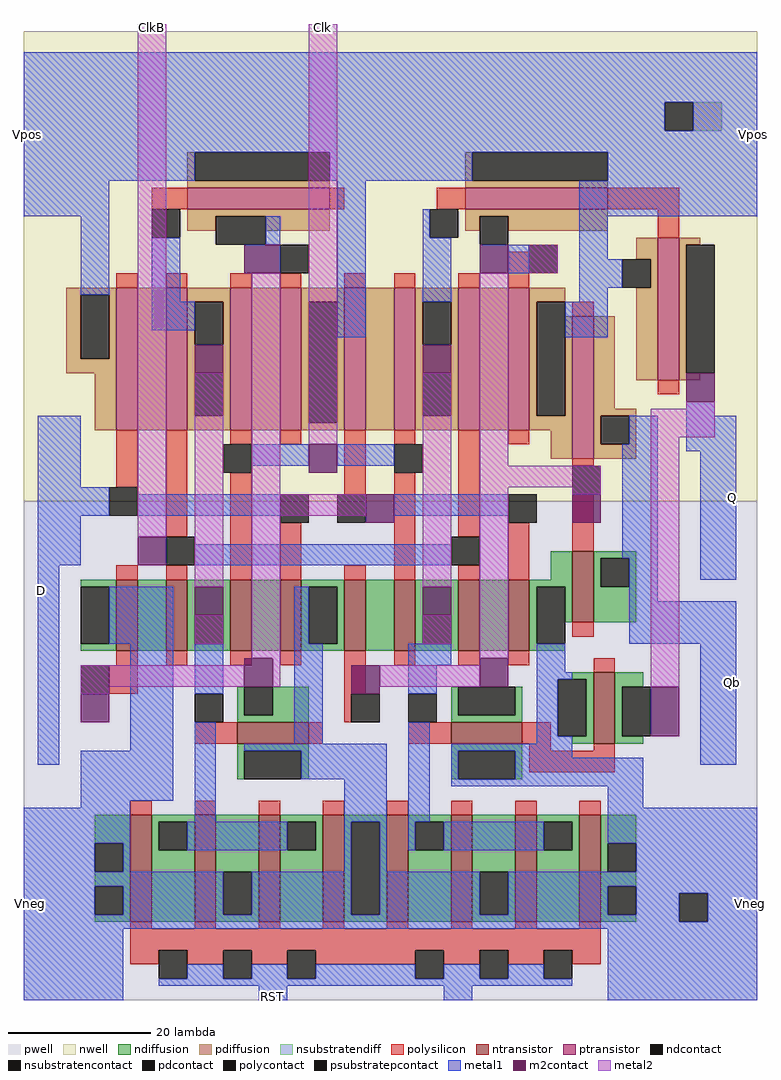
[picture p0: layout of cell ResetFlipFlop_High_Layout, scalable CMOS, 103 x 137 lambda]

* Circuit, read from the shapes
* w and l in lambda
.subckt ResetFlipFlop_High_Layout Clk ClkB D Q Qb RST Vneg Vpos
M1 n1 n2 Vneg Vneg nfet w=10 l=3
M2 n3 RST Vneg Vneg nfet w=15 l=3 m=4
M3 n3 ClkB n1 Vneg nfet w=10 l=3
M4 n4 Clk n3 Vneg nfet w=10 l=3
M5 n2 n3 Vneg Vneg nfet w=10 l=3
M6 Vneg D n4 Vneg nfet w=10 l=3
M7 n5 n6 Vneg Vneg nfet w=10 l=3
M8 n7 RST Vneg Vneg nfet w=15 l=3 m=4
M9 n7 Clk n5 Vneg nfet w=10 l=3
M10 n6 n7 Vneg Vneg nfet w=10 l=3
M11 n8 ClkB n7 Vneg nfet w=10 l=3
M12 Vneg n2 n8 Vneg nfet w=10 l=3
M13 Qb n6 Vneg Vneg nfet w=10 l=3
M14 Q n7 Vneg Vneg nfet w=10 l=3
M15 n9 D Vpos Vpos pfet w=20 l=3
M16 n3 ClkB n9 Vpos pfet w=20 l=3
M17 Vpos n3 n2 Vpos pfet w=20 l=3
M18 n10 Clk n3 Vpos pfet w=20 l=3
M19 Vpos n2 n10 Vpos pfet w=20 l=3
M20 n11 n2 Vpos Vpos pfet w=20 l=3
M21 n7 Clk n11 Vpos pfet w=20 l=3
M22 n12 ClkB n7 Vpos pfet w=20 l=3
M23 Vpos n7 n6 Vpos pfet w=20 l=3
M24 Vpos n6 n12 Vpos pfet w=20 l=3
M25 Qb n6 Vpos Vpos pfet w=20 l=3
M26 Q n7 Vpos Vpos pfet w=20 l=3
.ends

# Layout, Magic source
magic
tech scmos
<< nwell >>
rect 322 -274 425 -208
<< pwell >>
rect 322 -344 425 -274
<< ntransistor >>
rect 335 -295 338 -285
rect 342 -295 345 -285
rect 351 -295 354 -285
rect 358 -295 361 -285
rect 367 -295 370 -285
rect 374 -295 377 -285
rect 383 -295 386 -285
rect 390 -295 393 -285
rect 399 -291 402 -281
rect 352 -308 362 -305
rect 382 -308 392 -305
rect 402 -308 405 -298
rect 337 -333 340 -318
rect 346 -333 349 -318
rect 355 -333 358 -318
rect 364 -333 367 -318
rect 373 -333 376 -318
rect 382 -333 385 -318
rect 391 -333 394 -318
rect 400 -333 403 -318
<< ptransistor >>
rect 345 -233 365 -230
rect 384 -233 404 -230
rect 335 -264 338 -244
rect 342 -264 345 -244
rect 351 -264 354 -244
rect 358 -264 361 -244
rect 367 -264 370 -244
rect 374 -264 377 -244
rect 383 -264 386 -244
rect 390 -264 393 -244
rect 399 -268 402 -248
rect 411 -257 414 -237
<< ndiffusion >>
rect 396 -285 399 -281
rect 330 -286 335 -285
rect 334 -294 335 -286
rect 330 -295 335 -294
rect 338 -295 342 -285
rect 345 -290 351 -285
rect 345 -294 346 -290
rect 350 -294 351 -290
rect 345 -295 351 -294
rect 354 -295 358 -285
rect 361 -286 367 -285
rect 361 -294 362 -286
rect 366 -294 367 -286
rect 361 -295 367 -294
rect 370 -295 374 -285
rect 377 -290 383 -285
rect 377 -294 378 -290
rect 382 -294 383 -290
rect 377 -295 383 -294
rect 386 -295 390 -285
rect 393 -286 399 -285
rect 393 -294 394 -286
rect 398 -291 399 -286
rect 402 -282 408 -281
rect 402 -286 403 -282
rect 407 -286 408 -282
rect 402 -291 408 -286
rect 393 -295 398 -294
rect 352 -304 353 -300
rect 357 -304 362 -300
rect 352 -305 362 -304
rect 399 -299 402 -298
rect 382 -304 383 -300
rect 391 -304 392 -300
rect 382 -305 392 -304
rect 401 -307 402 -299
rect 399 -308 402 -307
rect 405 -300 409 -298
rect 405 -307 406 -300
rect 405 -308 409 -307
rect 352 -309 362 -308
rect 352 -313 353 -309
rect 361 -313 362 -309
rect 382 -309 392 -308
rect 382 -313 383 -309
rect 391 -313 392 -309
rect 332 -322 337 -318
rect 336 -326 337 -322
rect 332 -328 337 -326
rect 336 -332 337 -328
rect 332 -333 337 -332
rect 340 -319 346 -318
rect 340 -323 341 -319
rect 345 -323 346 -319
rect 340 -333 346 -323
rect 349 -326 355 -318
rect 349 -332 350 -326
rect 354 -332 355 -326
rect 349 -333 355 -332
rect 358 -319 364 -318
rect 358 -323 359 -319
rect 363 -323 364 -319
rect 358 -333 364 -323
rect 367 -319 373 -318
rect 367 -332 368 -319
rect 372 -332 373 -319
rect 367 -333 373 -332
rect 376 -319 382 -318
rect 376 -323 377 -319
rect 381 -323 382 -319
rect 376 -333 382 -323
rect 385 -326 391 -318
rect 385 -332 386 -326
rect 390 -332 391 -326
rect 385 -333 391 -332
rect 394 -319 400 -318
rect 394 -323 395 -319
rect 399 -323 400 -319
rect 394 -333 400 -323
rect 403 -322 408 -318
rect 403 -326 404 -322
rect 403 -328 408 -326
rect 403 -332 404 -328
rect 403 -333 408 -332
<< pdiffusion >>
rect 345 -229 346 -225
rect 345 -230 365 -229
rect 384 -229 385 -225
rect 384 -230 404 -229
rect 345 -234 365 -233
rect 345 -236 349 -234
rect 356 -236 365 -234
rect 384 -234 404 -233
rect 384 -236 386 -234
rect 390 -236 404 -234
rect 408 -240 411 -237
rect 410 -244 411 -240
rect 328 -245 335 -244
rect 328 -254 330 -245
rect 334 -254 335 -245
rect 328 -256 335 -254
rect 332 -264 335 -256
rect 338 -264 342 -244
rect 345 -246 351 -244
rect 345 -252 346 -246
rect 350 -252 351 -246
rect 345 -256 351 -252
rect 345 -262 346 -256
rect 350 -262 351 -256
rect 345 -264 351 -262
rect 354 -264 358 -244
rect 361 -246 367 -244
rect 361 -263 362 -246
rect 366 -263 367 -246
rect 361 -264 367 -263
rect 370 -264 374 -244
rect 377 -246 383 -244
rect 377 -252 378 -246
rect 382 -252 383 -246
rect 377 -256 383 -252
rect 377 -262 378 -256
rect 382 -262 383 -256
rect 377 -264 383 -262
rect 386 -264 390 -244
rect 393 -246 398 -244
rect 393 -262 394 -246
rect 398 -262 399 -248
rect 393 -264 399 -262
rect 396 -268 399 -264
rect 402 -261 405 -248
rect 408 -257 411 -244
rect 414 -238 417 -237
rect 414 -256 415 -238
rect 414 -257 417 -256
rect 402 -262 408 -261
rect 402 -266 403 -262
rect 407 -266 408 -262
rect 402 -268 408 -266
<< ndcontact >>
rect 330 -294 334 -286
rect 346 -294 350 -290
rect 362 -294 366 -286
rect 378 -294 382 -290
rect 394 -294 398 -286
rect 403 -286 407 -282
rect 353 -304 357 -300
rect 383 -304 391 -300
rect 397 -307 401 -299
rect 406 -307 410 -300
rect 353 -313 361 -309
rect 383 -313 391 -309
rect 332 -326 336 -322
rect 332 -332 336 -328
rect 341 -323 345 -319
rect 350 -332 354 -326
rect 359 -323 363 -319
rect 368 -332 372 -319
rect 377 -323 381 -319
rect 386 -332 390 -326
rect 395 -323 399 -319
rect 404 -326 408 -322
rect 404 -332 408 -328
<< pdcontact >>
rect 346 -229 365 -225
rect 385 -229 404 -225
rect 349 -238 356 -234
rect 386 -238 390 -234
rect 406 -244 410 -240
rect 330 -254 334 -245
rect 346 -252 350 -246
rect 346 -262 350 -256
rect 362 -263 366 -246
rect 378 -252 382 -246
rect 378 -262 382 -256
rect 394 -262 398 -246
rect 415 -256 419 -238
rect 403 -266 407 -262
<< nsubstratendiff >>
rect 416 -222 420 -218
<< psubstratepcontact >>
rect 414 -333 418 -329
<< nsubstratencontact >>
rect 412 -222 416 -218
<< polysilicon >>
rect 340 -233 345 -230
rect 365 -233 367 -230
rect 380 -233 384 -230
rect 404 -233 414 -230
rect 411 -237 414 -233
rect 335 -244 338 -242
rect 342 -244 345 -242
rect 351 -244 354 -242
rect 358 -244 361 -242
rect 367 -244 370 -242
rect 374 -244 377 -242
rect 383 -244 386 -242
rect 390 -244 393 -239
rect 399 -248 402 -246
rect 335 -272 338 -264
rect 342 -279 345 -264
rect 351 -266 354 -264
rect 358 -266 361 -264
rect 335 -285 338 -283
rect 342 -285 345 -283
rect 351 -285 354 -270
rect 367 -273 370 -264
rect 374 -266 377 -264
rect 358 -285 361 -277
rect 367 -285 370 -283
rect 374 -285 377 -270
rect 383 -279 386 -264
rect 390 -266 393 -264
rect 411 -259 414 -257
rect 399 -269 402 -268
rect 383 -285 386 -283
rect 390 -285 393 -277
rect 399 -281 402 -273
rect 399 -293 402 -291
rect 335 -297 338 -295
rect 342 -297 345 -295
rect 351 -297 354 -295
rect 358 -297 361 -295
rect 334 -301 338 -297
rect 367 -301 370 -295
rect 374 -297 377 -295
rect 383 -297 386 -295
rect 390 -297 393 -295
rect 402 -298 405 -296
rect 367 -305 368 -301
rect 346 -308 352 -305
rect 362 -308 364 -305
rect 376 -308 382 -305
rect 392 -308 396 -305
rect 393 -309 396 -308
rect 402 -309 405 -308
rect 393 -312 405 -309
rect 337 -318 340 -316
rect 346 -318 349 -316
rect 355 -318 358 -316
rect 364 -318 367 -316
rect 373 -318 376 -316
rect 382 -318 385 -316
rect 391 -318 394 -316
rect 400 -318 403 -316
rect 337 -334 340 -333
rect 346 -334 349 -333
rect 355 -334 358 -333
rect 364 -334 367 -333
rect 373 -334 376 -333
rect 382 -334 385 -333
rect 391 -334 394 -333
rect 400 -334 403 -333
rect 337 -337 403 -334
rect 337 -339 341 -337
rect 345 -339 350 -337
rect 354 -339 359 -337
rect 363 -339 377 -337
rect 381 -339 386 -337
rect 390 -339 395 -337
rect 399 -339 403 -337
<< polycontact >>
rect 340 -237 344 -233
rect 379 -237 383 -233
rect 358 -242 362 -238
rect 393 -242 397 -238
rect 334 -276 338 -272
rect 350 -270 354 -266
rect 342 -283 346 -279
rect 358 -277 362 -273
rect 366 -277 370 -273
rect 374 -270 378 -266
rect 399 -273 403 -269
rect 382 -283 386 -279
rect 390 -277 394 -273
rect 330 -301 334 -297
rect 346 -305 350 -301
rect 368 -305 372 -301
rect 376 -305 380 -301
rect 341 -341 345 -337
rect 350 -341 354 -337
rect 359 -341 363 -337
rect 377 -341 381 -337
rect 386 -341 390 -337
rect 395 -341 399 -337
<< metal1 >>
rect 322 -218 425 -211
rect 322 -222 412 -218
rect 416 -222 425 -218
rect 322 -225 425 -222
rect 322 -229 346 -225
rect 365 -229 385 -225
rect 404 -229 425 -225
rect 322 -234 334 -229
rect 330 -245 334 -234
rect 340 -246 344 -237
rect 356 -238 358 -234
rect 340 -250 346 -246
rect 324 -272 330 -262
rect 366 -251 370 -229
rect 378 -237 379 -233
rect 400 -234 425 -229
rect 378 -246 382 -237
rect 390 -242 393 -238
rect 400 -240 404 -234
rect 400 -244 406 -240
rect 400 -246 404 -244
rect 398 -251 404 -246
rect 415 -262 419 -260
rect 407 -266 411 -262
rect 354 -269 362 -266
rect 366 -269 374 -266
rect 324 -276 334 -272
rect 338 -276 358 -273
rect 324 -283 330 -276
rect 374 -276 390 -273
rect 346 -283 382 -280
rect 406 -282 411 -266
rect 415 -267 422 -262
rect 324 -311 327 -283
rect 334 -294 343 -286
rect 337 -309 343 -294
rect 330 -316 343 -309
rect 346 -301 350 -294
rect 360 -294 362 -286
rect 330 -317 337 -316
rect 322 -322 337 -317
rect 346 -319 349 -305
rect 360 -308 364 -294
rect 376 -297 382 -294
rect 407 -288 411 -282
rect 417 -285 422 -267
rect 407 -294 422 -288
rect 376 -301 380 -297
rect 394 -298 398 -294
rect 394 -299 399 -298
rect 353 -309 373 -308
rect 361 -313 373 -309
rect 367 -319 373 -313
rect 322 -326 332 -322
rect 336 -326 337 -322
rect 345 -323 359 -319
rect 367 -326 368 -319
rect 322 -328 350 -326
rect 322 -332 332 -328
rect 336 -332 350 -328
rect 354 -332 368 -326
rect 372 -326 373 -319
rect 376 -319 379 -305
rect 394 -307 397 -299
rect 394 -308 399 -307
rect 382 -309 399 -308
rect 382 -313 383 -309
rect 391 -310 399 -309
rect 391 -313 409 -310
rect 417 -311 422 -294
rect 382 -314 409 -313
rect 404 -317 409 -314
rect 376 -323 377 -319
rect 381 -323 395 -319
rect 404 -322 425 -317
rect 408 -326 425 -322
rect 372 -332 386 -326
rect 390 -328 425 -326
rect 390 -332 404 -328
rect 408 -329 425 -328
rect 408 -332 414 -329
rect 322 -333 414 -332
rect 418 -333 425 -329
rect 322 -334 425 -333
rect 322 -344 336 -334
rect 345 -341 350 -339
rect 354 -341 359 -339
rect 363 -341 377 -339
rect 381 -341 386 -339
rect 390 -341 395 -339
rect 341 -342 399 -341
rect 355 -344 359 -342
rect 381 -344 385 -342
rect 404 -344 425 -334
<< m2contact >>
rect 353 -242 358 -238
rect 346 -256 350 -252
rect 386 -242 390 -238
rect 378 -256 382 -252
rect 415 -260 419 -256
rect 362 -270 366 -266
rect 370 -277 374 -273
rect 399 -277 403 -273
rect 338 -283 342 -279
rect 330 -305 334 -301
rect 346 -290 350 -286
rect 378 -290 382 -286
rect 353 -300 357 -296
rect 368 -301 372 -297
rect 386 -300 390 -296
rect 410 -307 414 -300
<< metal2 >>
rect 338 -279 342 -207
rect 346 -286 350 -256
rect 346 -294 350 -290
rect 354 -273 358 -242
rect 362 -266 366 -207
rect 393 -242 397 -238
rect 354 -276 370 -273
rect 354 -296 358 -276
rect 378 -286 382 -256
rect 378 -294 382 -290
rect 386 -269 390 -242
rect 415 -261 419 -260
rect 410 -265 419 -261
rect 386 -272 403 -269
rect 330 -300 353 -297
rect 357 -300 358 -296
rect 386 -296 390 -272
rect 399 -273 403 -272
rect 330 -301 334 -300
rect 372 -300 386 -297
rect 410 -300 414 -265
<< labels >>
rlabel metal2 338 -208 342 -207 1 ClkB
rlabel metal2 362 -208 366 -207 1 Clk
rlabel metal1 322 -234 323 -211 1 Vpos
rlabel metal1 424 -234 425 -211 1 Vpos
rlabel metal1 322 -344 324 -317 1 Vneg
rlabel metal1 423 -344 425 -317 1 Vneg
rlabel metal1 421 -311 422 -288 1 Qb
rlabel metal1 421 -285 422 -262 1 Q
rlabel metal1 355 -344 359 -343 1 RST
rlabel metal1 324 -311 325 -262 1 D
<< end >>
